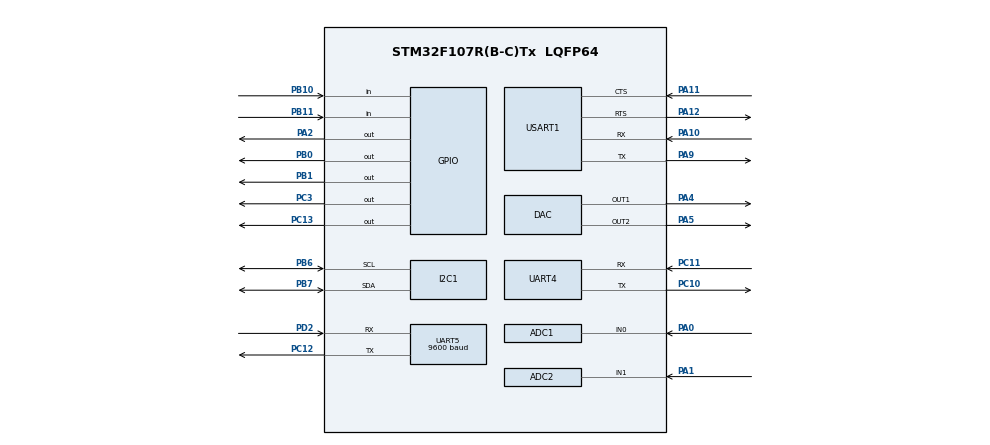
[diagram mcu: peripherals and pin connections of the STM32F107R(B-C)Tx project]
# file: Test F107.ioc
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ADC1.Channel-0\#ChannelRegularConversion=ADC_CHANNEL_0
ADC1.ContinuousConvMode=DISABLE
ADC1.DataAlign=ADC_DATAALIGN_RIGHT
ADC1.DiscontinuousConvMode=DISABLE
ADC1.EnableAnalogWatchDog=false
ADC1.EnableRegularConversion=ENABLE
ADC1.ExternalTrigConv=ADC_SOFTWARE_START
ADC1.InjNumberOfConversion=0
ADC1.NbrOfConversion=1
ADC1.NbrOfConversionFlag=1
ADC1.Rank-0\#ChannelRegularConversion=1
ADC1.SamplingTime-0\#ChannelRegularConversion=ADC_SAMPLETIME_1CYCLE_5
ADC1.ScanConvMode=ADC_SCAN_DISABLE
ADC1.master=1
ADC2.Channel-0\#ChannelRegularConversion=ADC_CHANNEL_1
ADC2.NbrOfConversionFlag=1
ADC2.Rank-0\#ChannelRegularConversion=1
ADC2.SamplingTime-0\#ChannelRegularConversion=ADC_SAMPLETIME_1CYCLE_5
I2C1.I2C_Mode=I2C_Fast
Mcu.Family=STM32F1
Mcu.Name=STM32F107R(B-C)Tx
Mcu.Package=LQFP64
NVIC.ADC1_2_IRQn=true\:0\:0\:false\:false\:true\:true
NVIC.PriorityGroup=NVIC_PRIORITYGROUP_4
NVIC.TIM6_IRQn=true\:0\:0\:false\:false\:true\:true
NVIC.TIM7_IRQn=true\:0\:0\:false\:false\:true\:true
NVIC.UART4_IRQn=true\:0\:0\:false\:false\:true\:true
NVIC.UART5_IRQn=true\:0\:0\:true\:false\:true\:true
NVIC.USART1_IRQn=true\:0\:0\:false\:false\:true\:true
PA0-WKUP.Signal=ADCx_IN0
PA1.Signal=ADCx_IN1
PA10.Mode=Asynchronous
PA10.Signal=USART1_RX
PA11.Mode=CTS_RTS
PA11.Signal=USART1_CTS
PA12.Mode=CTS_RTS
PA12.Signal=USART1_RTS
PA13.Mode=Serial_Wire
PA13.Signal=SYS_JTMS-SWDIO
PA14.Mode=Serial_Wire
PA14.Signal=SYS_JTCK-SWCLK
PA2.Signal=GPIO_Output
PA4.Signal=COMP_DAC1_group
PA5.Signal=COMP_DAC2_group
PA9.Mode=Asynchronous
PA9.Signal=USART1_TX
PB0.Signal=GPIO_Output
PB1.Signal=GPIO_Output
PB10.Signal=GPIO_Input
PB11.Signal=GPIO_Input
PB6.Mode=I2C
PB6.Signal=I2C1_SCL
PB7.Mode=I2C
PB7.Signal=I2C1_SDA
PC10.Mode=Asynchronous
PC10.Signal=UART4_TX
PC11.Mode=Asynchronous
PC11.Signal=UART4_RX
PC12.Mode=Asynchronous
PC12.Signal=UART5_TX
PC13-TAMPER-RTC.Signal=GPIO_Output
PC14-OSC32_IN.Mode=LSE-External-Oscillator
PC14-OSC32_IN.Signal=RCC_OSC32_IN
PC15-OSC32_OUT.Mode=LSE-External-Oscillator
PC15-OSC32_OUT.Signal=RCC_OSC32_OUT
PC3.Signal=GPIO_Output
PD2.Mode=Asynchronous
PD2.Signal=UART5_RX
ProjectManager.HeapSize=0x200
ProjectManager.StackSize=0x400
ProjectManager.TargetToolchain=EWARM
RCC.RTCClockSelection=RCC_RTCCLKSOURCE_LSE
RCC.USBFreq_Value=10666666.666666666
SH.ADCx_IN0.0=ADC1_IN0,IN0
SH.ADCx_IN1.0=ADC2_IN1,IN1
SH.COMP_DAC1_group.0=DAC_OUT1,DAC_OUT1
SH.COMP_DAC2_group.0=DAC_OUT2,DAC_OUT2
TIM6.Period=999
TIM6.Prescaler=15999
TIM7.Period=500
TIM7.Prescaler=15999
UART4.VirtualMode=Asynchronous
UART5.BaudRate=9600
UART5.VirtualMode=Asynchronous
USART1.VirtualMode=VM_ASYNC
VP_RTC_VS_RTC_Activate.Mode=RTC_Enabled
VP_RTC_VS_RTC_Calendar.Mode=RTC_Calendar
VP_TIM6_VS_ClockSourceINT.Mode=Enable_Timer
VP_TIM7_VS_ClockSourceINT.Mode=Enable_Timer
board=custom

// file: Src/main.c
/**
  ******************************************************************************
  * @file           : main.c
  * @brief          : Main program body
  ******************************************************************************
  ** This notice applies to any and all portions of this file
  * that are not between comment pairs USER CODE BEGIN and
  * USER CODE END. Other portions of this file, whether
  * inserted by the user or by software development tools
  * are owned by their respective copyright owners.
  *
  * COPYRIGHT(c) 2018 STMicroelectronics
  *
  * Redistribution and use in source and binary forms, with or without modification,
  * are permitted provided that the following conditions are met:
  *   1. Redistributions of source code must retain the above copyright notice,
  *      this list of conditions and the following disclaimer.
  *   2. Redistributions in binary form must reproduce the above copyright notice,
  *      this list of conditions and the following disclaimer in the documentation
  *      and/or other materials provided with the distribution.
  *   3. Neither the name of STMicroelectronics nor the names of its contributors
  *      may be used to endorse or promote products derived from this software
  *      without specific prior written permission.
  *
  * THIS SOFTWARE IS PROVIDED BY THE COPYRIGHT HOLDERS AND CONTRIBUTORS "AS IS"
  * AND ANY EXPRESS OR IMPLIED WARRANTIES, INCLUDING, BUT NOT LIMITED TO, THE
  * IMPLIED WARRANTIES OF MERCHANTABILITY AND FITNESS FOR A PARTICULAR PURPOSE ARE
  * DISCLAIMED. IN NO EVENT SHALL THE COPYRIGHT HOLDER OR CONTRIBUTORS BE LIABLE
  * FOR ANY DIRECT, INDIRECT, INCIDENTAL, SPECIAL, EXEMPLARY, OR CONSEQUENTIAL
  * DAMAGES (INCLUDING, BUT NOT LIMITED TO, PROCUREMENT OF SUBSTITUTE GOODS OR
  * SERVICES; LOSS OF USE, DATA, OR PROFITS; OR BUSINESS INTERRUPTION) HOWEVER
  * CAUSED AND ON ANY THEORY OF LIABILITY, WHETHER IN CONTRACT, STRICT LIABILITY,
  * OR TORT (INCLUDING NEGLIGENCE OR OTHERWISE) ARISING IN ANY WAY OUT OF THE USE
  * OF THIS SOFTWARE, EVEN IF ADVISED OF THE POSSIBILITY OF SUCH DAMAGE.
  *
  ******************************************************************************
  */
#include "main.h"
#include "stm32f1xx_hal.h"

/* USER CODE BEGIN Includes */
#include "ssd1306.h"

#include <string.h>

/* USER CODE END Includes */

ADC_HandleTypeDef hadc1;
ADC_HandleTypeDef hadc2;

DAC_HandleTypeDef hdac;

I2C_HandleTypeDef hi2c1;

RTC_HandleTypeDef hrtc;

TIM_HandleTypeDef htim6;
TIM_HandleTypeDef htim7;

UART_HandleTypeDef huart4;
UART_HandleTypeDef huart5;
UART_HandleTypeDef huart1;

/* USER CODE BEGIN PV */
/* Private variables ---------------------------------------------------------*/
int value_adc1;
int value_adc2;
int in1,in2;
int out1,out2;
int dig_in1,dig_in2;
int dig_out1,dig_out2;

int t1,t2,t3,t4,t5;

//Recieve Data From Wi-fi Module
char Buffer_Rx[200];
uint8_t rx_data[1];
uint8_t index=0;
char sendMsg1[30];

//Clock And Date
RTC_TimeTypeDef sTime;
RTC_DateTypeDef DateToUpdate;

char clock[10];
char Date[10];

//SIM800
void RecieveMessage();
void Clearbuffer2();
int IsItMsg();
void getMessage();
void clearText();

char Buffer_Rx2[200];
uint8_t rx_data2[1];
uint8_t index2=0;
int t=0;

char getText[100];
char getText2[100];

char MsgText[22];
char x[]={((char)26),0};
char *Ctrlz=x;

char *recMsg1="AT+CMGF=1\r\n";
//char *recMsg2="AT+CNMI=2,2,0,0,0\r\n";
char *recMsg2="AT+CNMI=1,2,0,0,0\r\n";

char *trueMessage="+CMT: \"+98*********\"";

char *SignalQuality="AT+CSQ\r\n";
char *check="ATT\r\n";

/* USER CODE END PV */

void SystemClock_Config(void);
static void MX_GPIO_Init(void);
static void MX_I2C1_Init(void);
static void MX_ADC1_Init(void);
static void MX_ADC2_Init(void);
static void MX_DAC_Init(void);
static void MX_UART4_Init(void);
static void MX_TIM6_Init(void);
static void MX_UART5_Init(void);
static void MX_USART1_UART_Init(void);
static void MX_RTC_Init(void);
static void MX_TIM7_Init(void);

/* USER CODE BEGIN PFP */
/* Private function prototypes -----------------------------------------------*/
void Clearbuffer();
void SetTime(void);
void SetDate(void);

/* USER CODE END PFP */

/* USER CODE BEGIN 0 */

//ADC Call Back
void HAL_ADC_ConvCpltCallback(ADC_HandleTypeDef* hadc){

  value_adc1=HAL_ADC_GetValue(&hadc1);
  in1=(value_adc1*3300)/4096;
  value_adc2=HAL_ADC_GetValue(&hadc2);
  in2=(value_adc2*3300)/4096;
}

//UART Call Back
void HAL_UART_RxCpltCallback(UART_HandleTypeDef *huart){
  if(huart->Instance==UART4){
    Buffer_Rx[index]=rx_data[0];

    index++;
    if(index>200) index=0;
    HAL_UART_Receive_IT(&huart4,rx_data,1);

    if(index>1 && rx_data[0]=='\n' && (strncmp(Buffer_Rx,"WiFi Connected",14)==0)){
      HAL_GPIO_TogglePin(GPIOC,GPIO_PIN_13);
      HAL_TIM_Base_Start_IT(&htim6);
      ssd1306_draw_bitmap(96, 0, w4, 32, 26);//Wifi Signal
      ssd1306_UpdateScreen();
      Clearbuffer();
    }else if(index>1 && rx_data[0]=='\n' && (strncmp(Buffer_Rx,"|G|",3)==0)){
      sscanf (Buffer_Rx,"%*s %d %d %d %d %d",&t1,&t2,&t3,&t4,&t5);
      Clearbuffer();
    }else if(index>1 && rx_data[0]=='\n'){
      Clearbuffer();
    }
  }

  if(huart->Instance==UART5){
    Buffer_Rx2[index2]=rx_data2[0];
    index2++;
    if(index2>200) index2=0;
    HAL_UART_Receive_IT(&huart5,rx_data2,1);

    if(index2>1 && Buffer_Rx2[index2-1]=='\n' && IsItMsg()==0) Clearbuffer2();
    if(index2>0 && Buffer_Rx2[index2-1]=='A' && IsItMsg()==0) Clearbuffer2();
    if(Buffer_Rx2[index2-1]=='\n' && IsItMsg()==1) {
      if (t==0)
      {
        t=1;
        return;

      }
      getMessage();
      Clearbuffer2();
      t=0;

    }
  }

}

//TIMER Call Back

void HAL_TIM_PeriodElapsedCallback(TIM_HandleTypeDef *htim){
  if(htim->Instance==TIM6){
    HAL_GPIO_TogglePin(GPIOC,GPIO_PIN_13);

    sprintf(sendMsg1,"|S| %d %d %d %d %d %d %d %d \n",in1,in2,dig_in1,dig_in2,out1,out2,dig_out1,dig_out2);
    HAL_UART_Transmit_IT(&huart4,sendMsg1,strlen(sendMsg1));
  }
  if(htim->Instance==TIM7){
   // SetDate();
    char di1[100];
    if(out1<3300) sprintf (di1, "OUT1 = %04d mV", out1);
    else sprintf (di1, "OUT1 = %04d mV", 3300);
    ssd1306_SetCursor(16, 36);
    ssd1306_WriteString(di1, Font_7x10, White);
    char di2[100];
    if(out2<3300) sprintf (di2, "OUT2 = %04d mV", out2);
    else sprintf (di2, "OUT2 = %04d mV", 3300);
    ssd1306_SetCursor(16, 49);
    ssd1306_WriteString(di2, Font_7x10, White);
    SetTime();
  }
}

/* USER CODE END 0 */

int main(void)
{

  /* MCU Configuration----------------------------------------------------------*/

  /* Reset of all peripherals, Initializes the Flash interface and the Systick. */
  HAL_Init();

  /* Configure the system clock */
  SystemClock_Config();

  /* Initialize all configured peripherals */
  MX_GPIO_Init();
  MX_I2C1_Init();
  MX_ADC1_Init();
  MX_ADC2_Init();
  MX_DAC_Init();
  MX_UART4_Init();
  MX_TIM6_Init();
  MX_UART5_Init();
  MX_USART1_UART_Init();
  MX_RTC_Init();
  MX_TIM7_Init();
  /* USER CODE BEGIN 2 */

  ssd1306_Init();
  //ssd1306_draw_bitmap(112, 2, c_chBat816, 16, 8);
  ssd1306_draw_bitmap(0, 0, Splash, 128, 64);//Splash
  ssd1306_UpdateScreen();
  HAL_Delay(3000);
  ssd1306_Fill(Black);
  // ssd1306_draw_bitmap(96, 0, w3, 32, 26);//Wifi Signal

  //ssd1306_draw_bitmap(96, 0, l1, 28, 29);//Wifi Signal

  ssd1306_SetCursor(2, 0);

  ssd1306_draw_bitmap(0, 0, hourGlass, 128, 64);//Wait ICON
 //  ssd1306_WriteString("Please Wait", Font_11x18, White);//Wait
//  ssd1306_SetCursor(20, 20);
//  ssd1306_WriteString("18/07/13", Font_7x10, White);//Date

  ssd1306_UpdateScreen();

  HAL_DAC_Start(&hdac,DAC_CHANNEL_1);
  HAL_DAC_Start(&hdac,DAC_CHANNEL_2);

  // HAL_GPIO_WritePin(GPIOB,GPIO_PIN_1,GPIO_PIN_SET);

  HAL_Delay(5000);
  ssd1306_Fill(Black);
  ssd1306_draw_bitmap(0, 32, line, 128, 1);//Line

  RecieveMessage();
  HAL_Delay(300);
 HAL_TIM_Base_Start_IT(&htim7);
//    HAL_UART_Transmit_IT(&huart5,SignalQuality,strlen(SignalQuality));
  /* USER CODE END 2 */

  /* Infinite loop */
  /* USER CODE BEGIN WHILE */
  while (1)
  {
    HAL_UART_Receive_IT(&huart5,rx_data2,1);

    HAL_UART_Receive_IT(&huart4,rx_data,1);

    HAL_ADC_Start_IT(&hadc1);
    HAL_ADC_Start_IT(&hadc2);

    //SMS Check
    if(strncmp(getText,"ON",2)==0){
      strcpy(getText2,getText);
      clearText();
      t1=1;
    }else if(strncmp(getText,"OFF",3)==0){
      strcpy(getText2,getText);
      clearText();
      t1=0;
    }

    //Read Digital Input1
    if(HAL_GPIO_ReadPin(GPIOB,GPIO_PIN_10)==GPIO_PIN_SET) dig_in1=1;
    else dig_in1=0;

    //Read Digital Input2
    if(HAL_GPIO_ReadPin(GPIOB,GPIO_PIN_11)==GPIO_PIN_SET) dig_in2=1;
    else dig_in2=0;

    //Set Main Switch
    if(t1==0){
      HAL_GPIO_WritePin(GPIOC,GPIO_PIN_3,GPIO_PIN_RESET);
    }else{
      HAL_GPIO_WritePin(GPIOC,GPIO_PIN_3,GPIO_PIN_SET);
    }

    //Set Digital Output1
    if(t4>=0){
      if(t4==0) dig_out1=0;
      else dig_out1=1;

    }else{
      if(t4==-1) dig_out1= dig_in1 && dig_in2;
      if(t4==-2) dig_out1= dig_in1 || dig_in2;
    }

    if(dig_out1==0) HAL_GPIO_WritePin(GPIOB,GPIO_PIN_0,GPIO_PIN_RESET);
    else if(dig_out1==1) HAL_GPIO_WritePin(GPIOB,GPIO_PIN_0,GPIO_PIN_SET);

    //Set Digital Output2
    if(t5>=0){
      if(t5==0) dig_out2=0;
      else dig_out2=1;
    }else{
      if(t5==-1) dig_out2= dig_in1 & dig_in2;
      if(t5==-2) dig_out2= dig_in1 | dig_in2;
    }

    if(dig_out2==0) HAL_GPIO_WritePin(GPIOB,GPIO_PIN_1,GPIO_PIN_RESET);
    else if(dig_out2==1) HAL_GPIO_WritePin(GPIOB,GPIO_PIN_1,GPIO_PIN_SET);

    //Set Analog Output1
    if(t2>=0){
      out1=t2;
      HAL_DAC_SetValue(&hdac,DAC_CHANNEL_1,DAC_ALIGN_12B_R,(t2*4095/3300));
    }
    else{
      switch(t2){
      case -1:
        out1=in1*in2;
        if(out1 > 3300)HAL_DAC_SetValue(&hdac,DAC_CHANNEL_1,DAC_ALIGN_12B_R,4095);
        else HAL_DAC_SetValue(&hdac,DAC_CHANNEL_1,DAC_ALIGN_12B_R,(out1*4095/3300));
        break;
      case -2:
        out1=in1*in2;
        if(out1 > 3300)HAL_DAC_SetValue(&hdac,DAC_CHANNEL_1,DAC_ALIGN_12B_R,4095);
        else HAL_DAC_SetValue(&hdac,DAC_CHANNEL_1,DAC_ALIGN_12B_R,(out1*4095/3300));
        break;
      case -3:
        out1=in1*in1;
        if(out1 > 3300)HAL_DAC_SetValue(&hdac,DAC_CHANNEL_1,DAC_ALIGN_12B_R,4095);
        else HAL_DAC_SetValue(&hdac,DAC_CHANNEL_1,DAC_ALIGN_12B_R,(out1*4095/3300));
        break;
      case -4:
        out1=in2*in2;
        if(out1 > 3300)HAL_DAC_SetValue(&hdac,DAC_CHANNEL_1,DAC_ALIGN_12B_R,4095);
        else HAL_DAC_SetValue(&hdac,DAC_CHANNEL_1,DAC_ALIGN_12B_R,(out1*4095/3300));
        break;
      case -5:
        out1=in1/in2;
        if(out1 > 3300)HAL_DAC_SetValue(&hdac,DAC_CHANNEL_1,DAC_ALIGN_12B_R,4095);
        else HAL_DAC_SetValue(&hdac,DAC_CHANNEL_1,DAC_ALIGN_12B_R,(out1*4095/3300));
        break;
      case -6:
        out1=in2/in1;
        if(out1 > 3300)HAL_DAC_SetValue(&hdac,DAC_CHANNEL_1,DAC_ALIGN_12B_R,4095);
        else HAL_DAC_SetValue(&hdac,DAC_CHANNEL_1,DAC_ALIGN_12B_R,(out1*4095/3300));
        break;
      case -7:
        out1=in1/in1;
        if(out1 > 3300)HAL_DAC_SetValue(&hdac,DAC_CHANNEL_1,DAC_ALIGN_12B_R,4095);
        else HAL_DAC_SetValue(&hdac,DAC_CHANNEL_1,DAC_ALIGN_12B_R,(out1*4095/3300));
        break;
      case -8:
        out1=in2/in2;
        if(out1 > 3300)HAL_DAC_SetValue(&hdac,DAC_CHANNEL_1,DAC_ALIGN_12B_R,4095);
        else HAL_DAC_SetValue(&hdac,DAC_CHANNEL_1,DAC_ALIGN_12B_R,(out1*4095/3300));
        break;
      case -9:
        out1=in1+in2;
        if(out1 > 3300)HAL_DAC_SetValue(&hdac,DAC_CHANNEL_1,DAC_ALIGN_12B_R,4095);
        else HAL_DAC_SetValue(&hdac,DAC_CHANNEL_1,DAC_ALIGN_12B_R,(out1*4095/3300));
        break;
      case -10:
        out1=in2+in1;
        if(out1 > 3300)HAL_DAC_SetValue(&hdac,DAC_CHANNEL_1,DAC_ALIGN_12B_R,4095);
        else HAL_DAC_SetValue(&hdac,DAC_CHANNEL_1,DAC_ALIGN_12B_R,(out1*4095/3300));
        break;
      case -11:
        out1=in1+in1;
        if(out1 > 3300)HAL_DAC_SetValue(&hdac,DAC_CHANNEL_1,DAC_ALIGN_12B_R,4095);
        else HAL_DAC_SetValue(&hdac,DAC_CHANNEL_1,DAC_ALIGN_12B_R,(out1*4095/3300));
        break;
      case -12:
        out1=in2+in2;
        if(out1 > 3300)HAL_DAC_SetValue(&hdac,DAC_CHANNEL_1,DAC_ALIGN_12B_R,4095);
        else HAL_DAC_SetValue(&hdac,DAC_CHANNEL_1,DAC_ALIGN_12B_R,(out1*4095/3300));
        break;
      case -13:
        out1=in1-in2;
        if(out1 > 3300)HAL_DAC_SetValue(&hdac,DAC_CHANNEL_1,DAC_ALIGN_12B_R,4095);
        else if(out1 <0) HAL_DAC_SetValue(&hdac,DAC_CHANNEL_1,DAC_ALIGN_12B_R,0);
        else HAL_DAC_SetValue(&hdac,DAC_CHANNEL_1,DAC_ALIGN_12B_R,(out1*4095/3300));
        break;
      case -14:
        out1=in2-in1;
        if(out1 > 3300)HAL_DAC_SetValue(&hdac,DAC_CHANNEL_1,DAC_ALIGN_12B_R,4095);
        else if(out1 <0) HAL_DAC_SetValue(&hdac,DAC_CHANNEL_1,DAC_ALIGN_12B_R,0);
        else HAL_DAC_SetValue(&hdac,DAC_CHANNEL_1,DAC_ALIGN_12B_R,(out1*4095/3300));
        break;
      case -15:
        out1=in1-in1;
        if(out1 > 3300)HAL_DAC_SetValue(&hdac,DAC_CHANNEL_1,DAC_ALIGN_12B_R,4095);
        else if(out1 <0) HAL_DAC_SetValue(&hdac,DAC_CHANNEL_1,DAC_ALIGN_12B_R,0);
        else HAL_DAC_SetValue(&hdac,DAC_CHANNEL_1,DAC_ALIGN_12B_R,(out1*4095/3300));
        break;
      case -16:
        out1=in2-in2;
        if(out1 > 3300)HAL_DAC_SetValue(&hdac,DAC_CHANNEL_1,DAC_ALIGN_12B_R,4095);
        else if(out1 <0) HAL_DAC_SetValue(&hdac,DAC_CHANNEL_1,DAC_ALIGN_12B_R,0);
        else HAL_DAC_SetValue(&hdac,DAC_CHANNEL_1,DAC_ALIGN_12B_R,(out1*4095/3300));
        break;

      }
    }
    //Set Analog Output2
    if(t3>=0){
      out2=t3;
      HAL_DAC_SetValue(&hdac,DAC_CHANNEL_2,DAC_ALIGN_12B_R,(t3*4095/3300));
    }
    else{
      switch(t3){
      case -1:
        out2=in1*in2;
        if(out2 > 3300)HAL_DAC_SetValue(&hdac,DAC_CHANNEL_2,DAC_ALIGN_12B_R,4095);
        else HAL_DAC_SetValue(&hdac,DAC_CHANNEL_2,DAC_ALIGN_12B_R,(out2*4095/3300));
        break;
      case -2:
        out2=in1*in2;
        if(out1 > 3300)HAL_DAC_SetValue(&hdac,DAC_CHANNEL_2,DAC_ALIGN_12B_R,4095);
        else HAL_DAC_SetValue(&hdac,DAC_CHANNEL_2,DAC_ALIGN_12B_R,(out2*4095/3300));
        break;
      case -3:
        out2=in1*in1;
        if(out2 > 3300)HAL_DAC_SetValue(&hdac,DAC_CHANNEL_2,DAC_ALIGN_12B_R,4095);
        else HAL_DAC_SetValue(&hdac,DAC_CHANNEL_2,DAC_ALIGN_12B_R,(out2*4095/3300));
        break;
      case -4:
        out2=in2*in2;
        if(out2 > 3300)HAL_DAC_SetValue(&hdac,DAC_CHANNEL_2,DAC_ALIGN_12B_R,4095);
        else HAL_DAC_SetValue(&hdac,DAC_CHANNEL_2,DAC_ALIGN_12B_R,(out2*4095/3300));
        break;
      case -5:
        out2=in1/in2;
        if(out2 > 3300)HAL_DAC_SetValue(&hdac,DAC_CHANNEL_2,DAC_ALIGN_12B_R,4095);
        else HAL_DAC_SetValue(&hdac,DAC_CHANNEL_2,DAC_ALIGN_12B_R,(out2*4095/3300));
        break;
      case -6:
        out2=in2/in1;
        if(out2 > 3300)HAL_DAC_SetValue(&hdac,DAC_CHANNEL_2,DAC_ALIGN_12B_R,4095);
        else HAL_DAC_SetValue(&hdac,DAC_CHANNEL_2,DAC_ALIGN_12B_R,(out2*4095/3300));
        break;
      case -7:
        out2=in1/in1;
        if(out2 > 3300)HAL_DAC_SetValue(&hdac,DAC_CHANNEL_2,DAC_ALIGN_12B_R,4095);
        else HAL_DAC_SetValue(&hdac,DAC_CHANNEL_2,DAC_ALIGN_12B_R,(out2*4095/3300));
        break;
      case -8:
        out2=in2/in2;
        if(out2 > 3300)HAL_DAC_SetValue(&hdac,DAC_CHANNEL_2,DAC_ALIGN_12B_R,4095);
        else HAL_DAC_SetValue(&hdac,DAC_CHANNEL_2,DAC_ALIGN_12B_R,(out2*4095/3300));
        break;
      case -9:
        out2=in1+in2;
        if(out2 > 3300)HAL_DAC_SetValue(&hdac,DAC_CHANNEL_2,DAC_ALIGN_12B_R,4095);
        else HAL_DAC_SetValue(&hdac,DAC_CHANNEL_2,DAC_ALIGN_12B_R,(out2*4095/3300));
        break;
      case -10:
        out2=in2+in1;
        if(out2 > 3300)HAL_DAC_SetValue(&hdac,DAC_CHANNEL_2,DAC_ALIGN_12B_R,4095);
        else HAL_DAC_SetValue(&hdac,DAC_CHANNEL_2,DAC_ALIGN_12B_R,(out2*4095/3300));
        break;
      case -11:
        out2=in1+in1;
        if(out2 > 3300)HAL_DAC_SetValue(&hdac,DAC_CHANNEL_2,DAC_ALIGN_12B_R,4095);
        else HAL_DAC_SetValue(&hdac,DAC_CHANNEL_2,DAC_ALIGN_12B_R,(out2*4095/3300));
        break;
      case -12:
        out2=in2+in2;
        if(out2 > 3300)HAL_DAC_SetValue(&hdac,DAC_CHANNEL_2,DAC_ALIGN_12B_R,4095);
        else HAL_DAC_SetValue(&hdac,DAC_CHANNEL_2,DAC_ALIGN_12B_R,(out2*4095/3300));
        break;
      case -13:
        out2=in1-in2;
        if(out2 > 3300)HAL_DAC_SetValue(&hdac,DAC_CHANNEL_2,DAC_ALIGN_12B_R,4095);
        else if(out2 <0) HAL_DAC_SetValue(&hdac,DAC_CHANNEL_2,DAC_ALIGN_12B_R,0);
        else HAL_DAC_SetValue(&hdac,DAC_CHANNEL_2,DAC_ALIGN_12B_R,(out2*4095/3300));
        break;
      case -14:
        out2=in2-in1;
        if(out2 > 3300)HAL_DAC_SetValue(&hdac,DAC_CHANNEL_2,DAC_ALIGN_12B_R,4095);
        else if(out2 <0) HAL_DAC_SetValue(&hdac,DAC_CHANNEL_2,DAC_ALIGN_12B_R,0);
        else HAL_DAC_SetValue(&hdac,DAC_CHANNEL_2,DAC_ALIGN_12B_R,(out2*4095/3300));
        break;
      case -15:
        out2=in1-in1;
        if(out2 > 3300)HAL_DAC_SetValue(&hdac,DAC_CHANNEL_2,DAC_ALIGN_12B_R,4095);
        else if(out2 <0) HAL_DAC_SetValue(&hdac,DAC_CHANNEL_2,DAC_ALIGN_12B_R,0);
        else HAL_DAC_SetValue(&hdac,DAC_CHANNEL_2,DAC_ALIGN_12B_R,(out2*4095/3300));
        break;
      case -16:
        out2=in2-in2;
        if(out2 > 3300)HAL_DAC_SetValue(&hdac,DAC_CHANNEL_2,DAC_ALIGN_12B_R,4095);
        else if(out2 <0) HAL_DAC_SetValue(&hdac,DAC_CHANNEL_2,DAC_ALIGN_12B_R,0);
        else HAL_DAC_SetValue(&hdac,DAC_CHANNEL_2,DAC_ALIGN_12B_R,(out2*4095/3300));
        break;

      }
    }

  /* USER CODE END WHILE */

  }

}

void SystemClock_Config(void)
{

  RCC_OscInitTypeDef RCC_OscInitStruct;
  RCC_ClkInitTypeDef RCC_ClkInitStruct;
  RCC_PeriphCLKInitTypeDef PeriphClkInit;

    /**Initializes the CPU, AHB and APB busses clocks
    */
  RCC_OscInitStruct.OscillatorType = RCC_OSCILLATORTYPE_HSI|RCC_OSCILLATORTYPE_LSE;
  RCC_OscInitStruct.LSEState = RCC_LSE_ON;
  RCC_OscInitStruct.HSIState = RCC_HSI_ON;
  RCC_OscInitStruct.HSICalibrationValue = 16;
  RCC_OscInitStruct.PLL.PLLState = RCC_PLL_NONE;
  RCC_OscInitStruct.PLL2.PLL2State = RCC_PLL_NONE;
  if (HAL_RCC_OscConfig(&RCC_OscInitStruct) != HAL_OK)
  {
    _Error_Handler(__FILE__, __LINE__);
  }

    /**Initializes the CPU, AHB and APB busses clocks
    */
  RCC_ClkInitStruct.ClockType = RCC_CLOCKTYPE_HCLK|RCC_CLOCKTYPE_SYSCLK
                              |RCC_CLOCKTYPE_PCLK1|RCC_CLOCKTYPE_PCLK2;
  RCC_ClkInitStruct.SYSCLKSource = RCC_SYSCLKSOURCE_HSI;
  RCC_ClkInitStruct.AHBCLKDivider = RCC_SYSCLK_DIV1;
  RCC_ClkInitStruct.APB1CLKDivider = RCC_HCLK_DIV1;
  RCC_ClkInitStruct.APB2CLKDivider = RCC_HCLK_DIV1;

  if (HAL_RCC_ClockConfig(&RCC_ClkInitStruct, FLASH_LATENCY_0) != HAL_OK)
  {
    _Error_Handler(__FILE__, __LINE__);
  }

  PeriphClkInit.PeriphClockSelection = RCC_PERIPHCLK_RTC|RCC_PERIPHCLK_ADC;
  PeriphClkInit.RTCClockSelection = RCC_RTCCLKSOURCE_LSE;
  PeriphClkInit.AdcClockSelection = RCC_ADCPCLK2_DIV2;
  if (HAL_RCCEx_PeriphCLKConfig(&PeriphClkInit) != HAL_OK)
  {
    _Error_Handler(__FILE__, __LINE__);
  }

    /**Configure the Systick interrupt time
    */
  HAL_SYSTICK_Config(HAL_RCC_GetHCLKFreq()/1000);

    /**Configure the Systick
    */
  HAL_SYSTICK_CLKSourceConfig(SYSTICK_CLKSOURCE_HCLK);

    /**Configure the Systick interrupt time
    */
  __HAL_RCC_PLLI2S_ENABLE();

  /* SysTick_IRQn interrupt configuration */
  HAL_NVIC_SetPriority(SysTick_IRQn, 0, 0);
}

/* ADC1 init function */
static void MX_ADC1_Init(void)
{

  ADC_ChannelConfTypeDef sConfig;

    /**Common config
    */
  hadc1.Instance = ADC1;
  hadc1.Init.ScanConvMode = ADC_SCAN_DISABLE;
  hadc1.Init.ContinuousConvMode = DISABLE;
  hadc1.Init.DiscontinuousConvMode = DISABLE;
  hadc1.Init.ExternalTrigConv = ADC_SOFTWARE_START;
  hadc1.Init.DataAlign = ADC_DATAALIGN_RIGHT;
  hadc1.Init.NbrOfConversion = 1;
  if (HAL_ADC_Init(&hadc1) != HAL_OK)
  {
    _Error_Handler(__FILE__, __LINE__);
  }

    /**Configure Regular Channel
    */
  sConfig.Channel = ADC_CHANNEL_0;
  sConfig.Rank = ADC_REGULAR_RANK_1;
  sConfig.SamplingTime = ADC_SAMPLETIME_1CYCLE_5;
  if (HAL_ADC_ConfigChannel(&hadc1, &sConfig) != HAL_OK)
  {
    _Error_Handler(__FILE__, __LINE__);
  }

}

/* ADC2 init function */
static void MX_ADC2_Init(void)
{

  ADC_ChannelConfTypeDef sConfig;

    /**Common config
    */
  hadc2.Instance = ADC2;
  hadc2.Init.ScanConvMode = ADC_SCAN_DISABLE;
  hadc2.Init.ContinuousConvMode = DISABLE;
  hadc2.Init.DiscontinuousConvMode = DISABLE;
  hadc2.Init.ExternalTrigConv = ADC_SOFTWARE_START;
  hadc2.Init.DataAlign = ADC_DATAALIGN_RIGHT;
  hadc2.Init.NbrOfConversion = 1;
  if (HAL_ADC_Init(&hadc2) != HAL_OK)
  {
    _Error_Handler(__FILE__, __LINE__);
  }

    /**Configure Regular Channel
    */
  sConfig.Channel = ADC_CHANNEL_1;
  sConfig.Rank = ADC_REGULAR_RANK_1;
  sConfig.SamplingTime = ADC_SAMPLETIME_1CYCLE_5;
  if (HAL_ADC_ConfigChannel(&hadc2, &sConfig) != HAL_OK)
  {
    _Error_Handler(__FILE__, __LINE__);
  }

}

/* DAC init function */
static void MX_DAC_Init(void)
{

  DAC_ChannelConfTypeDef sConfig;

    /**DAC Initialization
    */
  hdac.Instance = DAC;
  if (HAL_DAC_Init(&hdac) != HAL_OK)
  {
    _Error_Handler(__FILE__, __LINE__);
  }

    /**DAC channel OUT1 config
    */
  sConfig.DAC_Trigger = DAC_TRIGGER_NONE;
  sConfig.DAC_OutputBuffer = DAC_OUTPUTBUFFER_ENABLE;
  if (HAL_DAC_ConfigChannel(&hdac, &sConfig, DAC_CHANNEL_1) != HAL_OK)
  {
    _Error_Handler(__FILE__, __LINE__);
  }

    /**DAC channel OUT2 config
    */
  if (HAL_DAC_ConfigChannel(&hdac, &sConfig, DAC_CHANNEL_2) != HAL_OK)
  {
    _Error_Handler(__FILE__, __LINE__);
  }

}

/* I2C1 init function */
static void MX_I2C1_Init(void)
{

  hi2c1.Instance = I2C1;
  hi2c1.Init.ClockSpeed = 400000;
  hi2c1.Init.DutyCycle = I2C_DUTYCYCLE_2;
  hi2c1.Init.OwnAddress1 = 0;
  hi2c1.Init.AddressingMode = I2C_ADDRESSINGMODE_7BIT;
  hi2c1.Init.DualAddressMode = I2C_DUALADDRESS_DISABLE;
  hi2c1.Init.OwnAddress2 = 0;
  hi2c1.Init.GeneralCallMode = I2C_GENERALCALL_DISABLE;
  hi2c1.Init.NoStretchMode = I2C_NOSTRETCH_DISABLE;
  if (HAL_I2C_Init(&hi2c1) != HAL_OK)
  {
    _Error_Handler(__FILE__, __LINE__);
  }

}

/* RTC init function */
static void MX_RTC_Init(void)
{

  /* USER CODE BEGIN RTC_Init 1 */

  HAL_PWR_EnableBkUpAccess();

  // __PWR_CLK_ENABLE();

  /* USER CODE END RTC_Init 1 */

  /**Initialize RTC Only
  */
  hrtc.Instance = RTC;

  hrtc.Init.AsynchPrediv = RTC_AUTO_1_SECOND;
  hrtc.Init.OutPut = RTC_OUTPUTSOURCE_NONE;

  if (HAL_RTC_Init(&hrtc) != HAL_OK)
  {
    _Error_Handler(__FILE__, __LINE__);
  }

  /* USER CODE BEGIN RTC_Init 2 */
  if(HAL_RTCEx_BKUPRead(&hrtc, RTC_BKP_DR1) != 0x32F2){
    sTime.Hours = 9;
    sTime.Minutes = 45;
    sTime.Seconds = 50;

    /* USER CODE END RTC_Init 2 */

    /**Initialize RTC and set the Time and Date
    */
    if (HAL_RTC_SetTime(&hrtc, &sTime, RTC_FORMAT_BIN) != HAL_OK)
    {
      _Error_Handler(__FILE__, __LINE__);
    }

    DateToUpdate.WeekDay = RTC_WEEKDAY_TUESDAY;
    DateToUpdate.Month = RTC_MONTH_JULY;
    DateToUpdate.Date = 17;
    DateToUpdate.Year = 18;

    if (HAL_RTC_SetDate(&hrtc, &DateToUpdate, RTC_FORMAT_BIN) != HAL_OK)
    {
      _Error_Handler(__FILE__, __LINE__);
    }
    /* USER CODE BEGIN RTC_Init 4 */
    HAL_RTCEx_BKUPWrite(&hrtc,RTC_BKP_DR1,0x32F2);
    HAL_RTCEx_BKUPWrite(&hrtc,RTC_BKP_DR2,0x32F2);
  }else{
    __HAL_RCC_CLEAR_RESET_FLAGS();
  }
  /* USER CODE END RTC_Init 4 */

}

/* TIM6 init function */
static void MX_TIM6_Init(void)
{

  TIM_MasterConfigTypeDef sMasterConfig;

  htim6.Instance = TIM6;
  htim6.Init.Prescaler = 15999;
  htim6.Init.CounterMode = TIM_COUNTERMODE_UP;
  htim6.Init.Period = 999;
  htim6.Init.AutoReloadPreload = TIM_AUTORELOAD_PRELOAD_DISABLE;
  if (HAL_TIM_Base_Init(&htim6) != HAL_OK)
  {
    _Error_Handler(__FILE__, __LINE__);
  }

  sMasterConfig.MasterOutputTrigger = TIM_TRGO_RESET;
  sMasterConfig.MasterSlaveMode = TIM_MASTERSLAVEMODE_DISABLE;
  if (HAL_TIMEx_MasterConfigSynchronization(&htim6, &sMasterConfig) != HAL_OK)
  {
    _Error_Handler(__FILE__, __LINE__);
  }

}

/* TIM7 init function */
static void MX_TIM7_Init(void)
{

  TIM_MasterConfigTypeDef sMasterConfig;

  htim7.Instance = TIM7;
  htim7.Init.Prescaler = 15999;
  htim7.Init.CounterMode = TIM_COUNTERMODE_UP;
  htim7.Init.Period = 500;
  htim7.Init.AutoReloadPreload = TIM_AUTORELOAD_PRELOAD_DISABLE;
  if (HAL_TIM_Base_Init(&htim7) != HAL_OK)
  {
    _Error_Handler(__FILE__, __LINE__);
  }

  sMasterConfig.MasterOutputTrigger = TIM_TRGO_RESET;
  sMasterConfig.MasterSlaveMode = TIM_MASTERSLAVEMODE_DISABLE;
  if (HAL_TIMEx_MasterConfigSynchronization(&htim7, &sMasterConfig) != HAL_OK)
  {
    _Error_Handler(__FILE__, __LINE__);
  }

}

/* UART4 init function */
static void MX_UART4_Init(void)
{

  huart4.Instance = UART4;
  huart4.Init.BaudRate = 115200;
  huart4.Init.WordLength = UART_WORDLENGTH_8B;
  huart4.Init.StopBits = UART_STOPBITS_1;
  huart4.Init.Parity = UART_PARITY_NONE;
  huart4.Init.Mode = UART_MODE_TX_RX;
  huart4.Init.HwFlowCtl = UART_HWCONTROL_NONE;
  huart4.Init.OverSampling = UART_OVERSAMPLING_16;
  if (HAL_UART_Init(&huart4) != HAL_OK)
  {
    _Error_Handler(__FILE__, __LINE__);
  }

}

/* UART5 init function */
static void MX_UART5_Init(void)
{

  huart5.Instance = UART5;
  huart5.Init.BaudRate = 9600;
  huart5.Init.WordLength = UART_WORDLENGTH_8B;
  huart5.Init.StopBits = UART_STOPBITS_1;
  huart5.Init.Parity = UART_PARITY_NONE;
  huart5.Init.Mode = UART_MODE_TX_RX;
  huart5.Init.HwFlowCtl = UART_HWCONTROL_NONE;
  huart5.Init.OverSampling = UART_OVERSAMPLING_16;
  if (HAL_UART_Init(&huart5) != HAL_OK)
  {
    _Error_Handler(__FILE__, __LINE__);
  }

}

/* USART1 init function */
static void MX_USART1_UART_Init(void)
{

  huart1.Instance = USART1;
  huart1.Init.BaudRate = 115200;
  huart1.Init.WordLength = UART_WORDLENGTH_8B;
  huart1.Init.StopBits = UART_STOPBITS_1;
  huart1.Init.Parity = UART_PARITY_NONE;
  huart1.Init.Mode = UART_MODE_TX_RX;
  huart1.Init.HwFlowCtl = UART_HWCONTROL_RTS_CTS;
  huart1.Init.OverSampling = UART_OVERSAMPLING_16;
  if (HAL_UART_Init(&huart1) != HAL_OK)
  {
    _Error_Handler(__FILE__, __LINE__);
  }

}

/** Configure pins as
        * Analog
        * Input
        * Output
        * EVENT_OUT
        * EXTI
*/
static void MX_GPIO_Init(void)
{

  GPIO_InitTypeDef GPIO_InitStruct;

  /* GPIO Ports Clock Enable */
  __HAL_RCC_GPIOC_CLK_ENABLE();
  __HAL_RCC_GPIOA_CLK_ENABLE();
  __HAL_RCC_GPIOB_CLK_ENABLE();
  __HAL_RCC_GPIOD_CLK_ENABLE();

  /*Configure GPIO pin Output Level */
  HAL_GPIO_WritePin(GPIOC, GPIO_PIN_13|GPIO_PIN_3, GPIO_PIN_RESET);

  /*Configure GPIO pin Output Level */
  HAL_GPIO_WritePin(GPIOA, GPIO_PIN_2, GPIO_PIN_RESET);

  /*Configure GPIO pin Output Level */
  HAL_GPIO_WritePin(GPIOB, GPIO_PIN_0|GPIO_PIN_1, GPIO_PIN_RESET);

  /*Configure GPIO pins : PC13 PC3 */
  GPIO_InitStruct.Pin = GPIO_PIN_13|GPIO_PIN_3;
  GPIO_InitStruct.Mode = GPIO_MODE_OUTPUT_PP;
  GPIO_InitStruct.Pull = GPIO_NOPULL;
  GPIO_InitStruct.Speed = GPIO_SPEED_FREQ_LOW;
  HAL_GPIO_Init(GPIOC, &GPIO_InitStruct);

  /*Configure GPIO pin : PA2 */
  GPIO_InitStruct.Pin = GPIO_PIN_2;
  GPIO_InitStruct.Mode = GPIO_MODE_OUTPUT_PP;
  GPIO_InitStruct.Pull = GPIO_NOPULL;
  GPIO_InitStruct.Speed = GPIO_SPEED_FREQ_LOW;
  HAL_GPIO_Init(GPIOA, &GPIO_InitStruct);

  /*Configure GPIO pins : PB0 PB1 */
  GPIO_InitStruct.Pin = GPIO_PIN_0|GPIO_PIN_1;
  GPIO_InitStruct.Mode = GPIO_MODE_OUTPUT_PP;
  GPIO_InitStruct.Pull = GPIO_NOPULL;
  GPIO_InitStruct.Speed = GPIO_SPEED_FREQ_LOW;
  HAL_GPIO_Init(GPIOB, &GPIO_InitStruct);

  /*Configure GPIO pins : PB10 PB11 */
  GPIO_InitStruct.Pin = GPIO_PIN_10|GPIO_PIN_11;
  GPIO_InitStruct.Mode = GPIO_MODE_INPUT;
  GPIO_InitStruct.Pull = GPIO_NOPULL;
  HAL_GPIO_Init(GPIOB, &GPIO_InitStruct);

}

/* USER CODE BEGIN 4 */

void Clearbuffer(){
  memset(Buffer_Rx, 0, sizeof(Buffer_Rx));
  index=0;

}

//Sim800 Functions
void RecieveMessage(){
  HAL_UART_Transmit_IT(&huart5,recMsg1,strlen(recMsg1));
  HAL_Delay(1000);
  HAL_UART_Transmit_IT(&huart5,recMsg2,strlen(recMsg2));

}

void Clearbuffer2(){
  memset(Buffer_Rx2, 0, sizeof(Buffer_Rx2));
  index2=0;

}

int IsItMsg(){

  if(strncmp(Buffer_Rx2,trueMessage,21)==0){
    return 1;
  }

  return 0;
}

void getMessage(){

 clearText();

  int j=0;

  for(int i=0;i<100;i++){
    if(Buffer_Rx2[i]=='\n'){
      i++;
      for(int k=i;k<100;k++){
        if(Buffer_Rx2[k]=='\r') {
          return;

          }
        getText[j]=Buffer_Rx2[k];

        j++;

      }

    }

  }

}

void clearText(){
  for(int i=0;i<99;i++){
    getText[i]='\0';
  }
}

//Set TIME Function
void SetTime(){

  HAL_RTC_GetTime(&hrtc, &sTime, RTC_FORMAT_BIN);

  sprintf (clock, "%02d:%02d:%02d", sTime.Hours, sTime.Minutes, sTime.Seconds);
  ssd1306_SetCursor(2, 5);
  ssd1306_WriteString(clock, Font_11x18, White);
  ssd1306_UpdateScreen();

}

//Set DATE Function
void SetDate(){

  HAL_RTC_GetDate(&hrtc, &DateToUpdate, RTC_FORMAT_BIN);

  sprintf (Date, "%02d/%02d/%02d", DateToUpdate.Year, DateToUpdate.Month, DateToUpdate.Date);
  ssd1306_SetCursor(20, 20);
  ssd1306_WriteString(Date, Font_7x10, White);//Date
  ssd1306_UpdateScreen();
}

/* USER CODE END 4 */

void _Error_Handler(char *file, int line)
{
  while(1)
  {
  }
}

/************************ (C) COPYRIGHT STMicroelectronics *****END OF FILE****/
